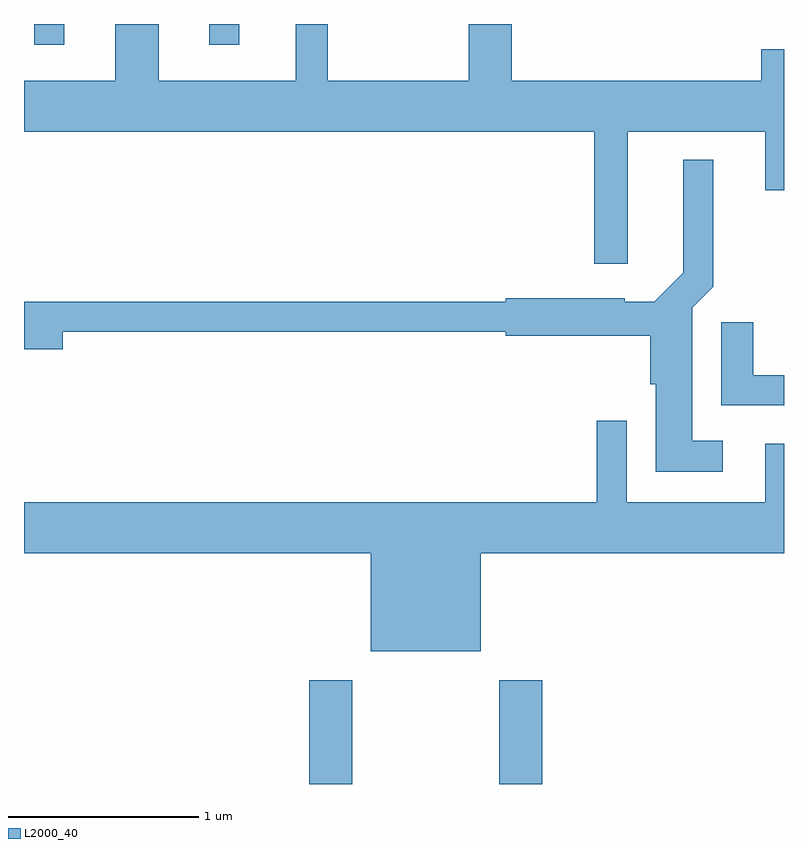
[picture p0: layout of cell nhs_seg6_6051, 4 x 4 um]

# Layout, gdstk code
import gdstk
lib = gdstk.Library(unit=1e-6, precision=1e-09)
def R(c, l, rs):  # rectangles x0, y0, x1, y1
    for r in rs: c.add(gdstk.rectangle(r[:2], r[2:], *l))
def P(c, l, *ps):  # polygons
    for p in ps: c.add(gdstk.Polygon(p, *l))
L2000_40 = (2000, 40)

nhs_seg6_6051 = lib.new_cell('nhs_seg6_6051')
R(nhs_seg6_6051, L2000_40, [(371.111,1542.162,371.339,1542.709), (372.111,1542.162,372.339,1542.709), (369.666,1546.053,369.824,1546.162), (370.586,1546.053,370.744,1546.162)])
P(nhs_seg6_6051, L2000_40, [(372.789,1545.596),(373.511,1545.596),(373.511,1545.286),(373.611,1545.286),(373.611,1546.029),(373.491,1546.029),(373.491,1545.864),(372.179,1545.864),(372.179,1546.162),(371.951,1546.162),(371.951,1545.864),(371.209,1545.864),(371.209,1546.162),(371.041,1546.162),(371.041,1545.864),(370.319,1545.864),(370.319,1546.162),(370.091,1546.162),(370.091,1545.864),(369.611,1545.864),(369.611,1545.596),(372.611,1545.596),(372.611,1544.901),(372.789,1544.901)],
  [(373.288,1543.969),(373.129,1543.969),(373.129,1544.669),(373.239,1544.779),(373.239,1545.448),(373.081,1545.448),(373.081,1544.852),(372.929,1544.699),(372.774,1544.699),(372.774,1544.719),(372.146,1544.719),(372.146,1544.699),(369.611,1544.699),(369.611,1544.451),(369.814,1544.451),(369.814,1544.541),(372.146,1544.541),(372.146,1544.521),(372.906,1544.521),(372.906,1544.266),(372.936,1544.266),(372.936,1543.806),(373.288,1543.806)],
  [(373.611,1544.314),(373.449,1544.314),(373.449,1544.593),(373.281,1544.593),(373.281,1544.156),(373.611,1544.156)],
  [(372.014,1543.376),(373.611,1543.376),(373.611,1543.954),(373.511,1543.954),(373.511,1543.644),(372.784,1543.644),(372.784,1544.073),(372.626,1544.073),(372.626,1543.644),(369.611,1543.644),(369.611,1543.376),(371.436,1543.376),(371.436,1542.861),(372.014,1542.861)])

lib.write_gds('nhs_seg6_6051.gds')
